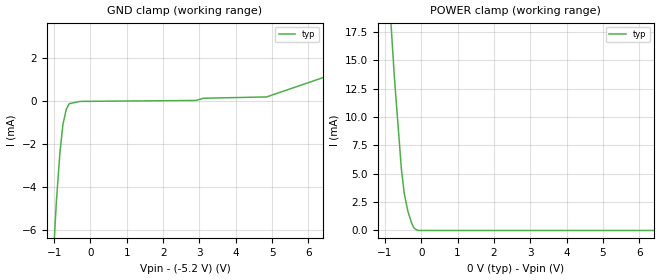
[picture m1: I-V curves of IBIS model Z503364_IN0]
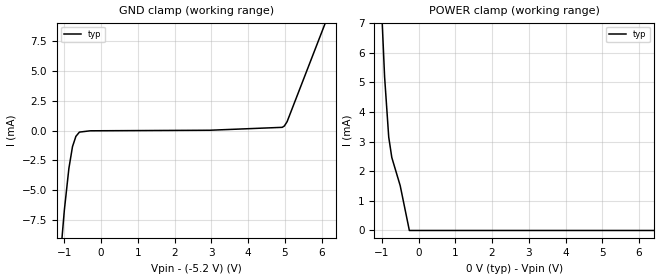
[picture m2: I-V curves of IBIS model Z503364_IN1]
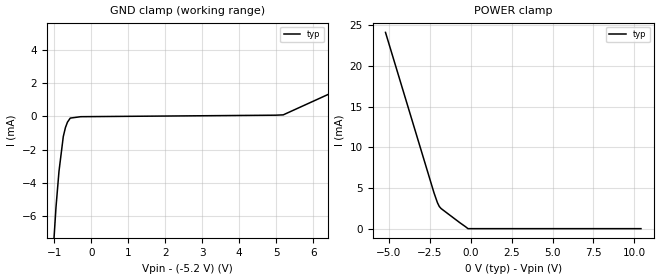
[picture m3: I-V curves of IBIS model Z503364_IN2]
| YOU ARE ONLY AUTHORIZED TO USE THIS SOFTWARE
| ACCORDING TO LICENSOR'S LICENSE RESTRICTIONS.
[IBIS Ver] 3.1
[File Name] mc100e131fn.ibs
[File Rev] 2.0
[Source] Measured and created by ICX Technology
[Date] Friday 7/14/00 9:07:47 AM
[Copyright]
| (C) COPYRIGHT 1993-2000
| MENTOR GRAPHICS CORPORATION
| ICX STANDARD LIBRARY, ICX PROJECT MODELING,
| ICX CUSTOM MODELING, ICX VENDOR MODEL
| ALL RIGHTS RESERVED.
| THE FOLLOWING ARE TRADEMARKS OR SERVICE MARKS OF
| MENTOR GRAPHICS CORPORATION:ICX (R), ICX STANDARD
| LIBRARY(R), ICX PROJECT MODELING(R), ICX CUSTOM
| MODELING(R), qualityIBIS(TM), MODELVIEWER(TM),
| AND MODELEDITOR(TM)
| ALL COPIES OF SOFTWARE, INCLUDING BUT NOT LIMITED TO
| ANY MODIFICATIONS, ENHANCEMENTS OR DERIVATIVE WORKS,
| MUST CONTAIN ALL MENTOR GRAPHICS CORPORATION'S
| NOTICES AND LEGENDS, INCLUDING THOSE EMBEDDED IN
| SOFTWARE AND THOSE AFFIXED TO SOFTWARE MEDIUM
| AND CONTAINER, AS RECEIVED FROM MENTOR GRAPHICS
| CORPORATION.
|  ZAP Model Builder 2.7
[Component] MC100E131FN
[Manufacturer] OnSemiconductor
[Package]
| variable   typ   min   max
R_pkg  .083ohms NA NA
L_pkg  4.299nH NA NA
C_pkg  1.045pF NA NA
[Pin] signal_name  model_name  R_pin  L_pin C_pin
1 VEE POWER .08 3.94n .925p
2 CC Z503364_IN0 .082 4.14n .995p
3 S03 Z503364_IN1 .084 4.354n 1.065p
4 D0 Z503364_IN2 .086 4.583n 1.135p
5 _CE0 Z503364_IN3 .086 4.583n 1.135p
6 R0 Z503364_IN4 .084 4.354n 1.065p
7 D1 Z503364_IN2 .082 4.14n .995p
8 _CE1 Z503364_IN3 .08 3.94n .925p
9 R1 Z503364_IN4 .082 4.14n .995p
10 NC NC .084 4.354n 1.065p
11 VCCO POWER .086 4.583n 1.135p
12 Q0 Z503364_OUT0 .086 4.583n 1.135p
13 _Q0 Z503364_OUT1 .084 4.354n 1.065p
14 Q1 Z503364_OUT0 .082 4.14n .995p
15 _Q1 Z503364_OUT1 .08 3.94n .925p
16 VCC POWER .082 4.14n .995p
17 Q2 Z503364_OUT0 .084 4.354n 1.065p
18 _Q2 Z503364_OUT1 .086 4.583n 1.135p
19 Q3 Z503364_OUT0 .086 4.583n 1.135p
20 _Q3 Z503364_OUT1 .084 4.354n 1.065p
21 VCCO POWER .082 4.14n .995p
22 R2 Z503364_IN4 .08 3.94n .925p
23 _CE2 Z503364_IN3 .082 4.14n .995p
24 D2 Z503364_IN2 .084 4.354n 1.065p
25 R3 Z503364_IN4 .086 4.583n 1.135p
26 _CE3 Z503364_IN3 .086 4.583n 1.135p
27 D3 Z503364_IN2 .084 4.354n 1.065p
28 S12 Z503364_IN1 .082 4.14n .995p
| Models and submodels in the file (7): Z503364_IN0 (Input_ECL), Z503364_IN1 (Input_ECL), Z503364_IN2 (Input_ECL), Z503364_IN3 (Input_ECL), Z503364_IN4 (Input_ECL), Z503364_OUT0 (Output_ECL), Z503364_OUT1 (Output_ECL)
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| (C) COPYRIGHT 1993-2000
| MENTOR GRAPHICS CORPORATION
| ICX STANDARD LIBRARY, ICX PROJECT MODELING,
| ICX CUSTOM MODELING, ICX VENDOR MODEL
| ALL RIGHTS RESERVED.
| THE FOLLOWING ARE TRADEMARKS OR SERVICE MARKS OF
| MENTOR GRAPHICS CORPORATION:ICX (R), ICX STANDARD
| LIBRARY(R), ICX PROJECT MODELING(R), ICX CUSTOM
| MODELING(R), qualityIBIS(TM), MODELVIEWER(TM),
| AND MODELEDITOR(TM)
| ALL COPIES OF SOFTWARE, INCLUDING BUT NOT LIMITED TO
| ANY MODIFICATIONS, ENHANCEMENTS OR DERIVATIVE WORKS,
| MUST CONTAIN ALL MENTOR GRAPHICS CORPORATION'S
| NOTICES AND LEGENDS, INCLUDING THOSE EMBEDDED IN
| SOFTWARE AND THOSE AFFIXED TO SOFTWARE MEDIUM
| AND CONTAINER, AS RECEIVED FROM MENTOR GRAPHICS
| CORPORATION.
| Model Application Version 1.89 2/18/99.
[Model] Z503364_IN0
Model_type Input_ECL
Vinl = -1.475V
Vinh = -1.165V
C_comp 4.000pF NA NA
| variable typ   min   max
[Voltage Range] -5.200V NA NA
[GND Clamp Reference] -5.200V NA NA
[POWER Clamp Reference] 0.000V NA NA
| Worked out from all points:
|   GND clamp passes 1 mA (typ) near -0.75 V on its own axis
|   POWER clamp passes 1 mA (typ) near -0.30 V on its own axis
[GND Clamp]
-5.2V     -235.2mA   NA         NA
-1.06V    -8.406mA   NA         NA
-941mV    -4.726mA   NA         NA
-843mV    -2.429mA   NA         NA
-758mV    -1.083mA   NA         NA
-664mV    -380.5uA   NA         NA
-587mV    -130.5uA   NA         NA
-293.5mV  -22.52uA   NA         NA
2.9V      21.83uA    NA         NA
3.118V    124.6uA    NA         NA
4.848V    185uA      NA         NA
10.4V     3.393mA    NA         NA
[POWER Clamp]
-5.2V     249.2mA    NA         NA
-1.493V   51.54mA    NA         NA
-742.2mV  13.56mA    NA         NA
-547.8mV  5.39mA     NA         NA
-468.8mV  3.257mA    NA         NA
-368.2mV  1.668mA    NA         NA
-258.4mV  579.5uA    NA         NA
-203.1mV  242.3uA    NA         NA
-165.6mV  123.3uA    NA         NA
-82.8mV   0A         NA         NA
10.4V     0A         NA         NA
| (C) COPYRIGHT 1993-2000
| MENTOR GRAPHICS CORPORATION
| ICX STANDARD LIBRARY, ICX PROJECT MODELING,
| ICX CUSTOM MODELING, ICX VENDOR MODEL
| ALL RIGHTS RESERVED.
| THE FOLLOWING ARE TRADEMARKS OR SERVICE MARKS OF
| MENTOR GRAPHICS CORPORATION:ICX (R), ICX STANDARD
| LIBRARY(R), ICX PROJECT MODELING(R), ICX CUSTOM
| MODELING(R), qualityIBIS(TM), MODELVIEWER(TM),
| AND MODELEDITOR(TM)
| ALL COPIES OF SOFTWARE, INCLUDING BUT NOT LIMITED TO
| ANY MODIFICATIONS, ENHANCEMENTS OR DERIVATIVE WORKS,
| MUST CONTAIN ALL MENTOR GRAPHICS CORPORATION'S
| NOTICES AND LEGENDS, INCLUDING THOSE EMBEDDED IN
| SOFTWARE AND THOSE AFFIXED TO SOFTWARE MEDIUM
| AND CONTAINER, AS RECEIVED FROM MENTOR GRAPHICS
| CORPORATION.
| Model Application Version 1.89 2/18/99.
[Model] Z503364_IN1
Model_type Input_ECL
Vinl = -1.475V
Vinh = -1.165V
C_comp 4.000pF NA NA
| variable typ   min   max
[Voltage Range] -5.200V NA NA
[GND Clamp Reference] -5.200V NA NA
[POWER Clamp Reference] 0.000V NA NA
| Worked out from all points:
|   GND clamp passes 1 mA (typ) near -0.74 V on its own axis
|   POWER clamp passes 1 mA (typ) near -0.41 V on its own axis
[GND Clamp]
-5.2V     -275.3mA   NA         NA
-1.101V   -10.47mA   NA         NA
-998mV    -6.705mA   NA         NA
-874mV    -3.182mA   NA         NA
-776mV    -1.354mA   NA         NA
-683mV    -486.4uA   NA         NA
-587mV    -132uA     NA         NA
-293.5mV  -22.84uA   NA         NA
2.958V    23.57uA    NA         NA
4.931V    268.3uA    NA         NA
5.063V    743.8uA    NA         NA
10.4V     43.31mA    NA         NA
[POWER Clamp]
-5.2V     185.3mA    NA         NA
-2.019V   43.9mA     NA         NA
-1.736V   32.8mA     NA         NA
-1.055V   8.911mA    NA         NA
-922.8mV  5.185mA    NA         NA
-810.5mV  3.151mA    NA         NA
-726.5mV  2.46mA     NA         NA
-497.9mV  1.51mA     NA         NA
-249mV    0A         NA         NA
10.4V     0A         NA         NA
| (C) COPYRIGHT 1993-2000
| MENTOR GRAPHICS CORPORATION
| ICX STANDARD LIBRARY, ICX PROJECT MODELING,
| ICX CUSTOM MODELING, ICX VENDOR MODEL
| ALL RIGHTS RESERVED.
| THE FOLLOWING ARE TRADEMARKS OR SERVICE MARKS OF
| MENTOR GRAPHICS CORPORATION:ICX (R), ICX STANDARD
| LIBRARY(R), ICX PROJECT MODELING(R), ICX CUSTOM
| MODELING(R), qualityIBIS(TM), MODELVIEWER(TM),
| AND MODELEDITOR(TM)
| ALL COPIES OF SOFTWARE, INCLUDING BUT NOT LIMITED TO
| ANY MODIFICATIONS, ENHANCEMENTS OR DERIVATIVE WORKS,
| MUST CONTAIN ALL MENTOR GRAPHICS CORPORATION'S
| NOTICES AND LEGENDS, INCLUDING THOSE EMBEDDED IN
| SOFTWARE AND THOSE AFFIXED TO SOFTWARE MEDIUM
| AND CONTAINER, AS RECEIVED FROM MENTOR GRAPHICS
| CORPORATION.
| Model Application Version 1.89 2/18/99.
[Model] Z503364_IN2
Model_type Input_ECL
Vinl = -1.475V
Vinh = -1.165V
C_comp 4.000pF NA NA
| variable typ   min   max
[Voltage Range] -5.200V NA NA
[GND Clamp Reference] -5.200V NA NA
[POWER Clamp Reference] 0.000V NA NA
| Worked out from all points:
|   GND clamp passes 1 mA (typ) near -0.73 V on its own axis
[GND Clamp]
-5.2V     -275.8mA   NA         NA
-1.069V   -9.425mA   NA         NA
-953mV    -5.419mA   NA         NA
-873mV    -3.292mA   NA         NA
-757mV    -1.213mA   NA         NA
-699mV    -673.9uA   NA         NA
-644mV    -347.2uA   NA         NA
-568mV    -104.2uA   NA         NA
-284mV    -20.48uA   NA         NA
5.191V    89.61uA    NA         NA
10.4V     5.344mA    NA         NA
[POWER Clamp]
-5.2V     24.15mA    NA         NA
-2.236V   4.396mA    NA         NA
-2.031V   3.209mA    NA         NA
-1.914V   2.725mA    NA         NA
-1.802V   2.47mA     NA         NA
-653.8mV  723.5uA    NA         NA
-324.4mV  256uA      NA         NA
-162.2mV  0A         NA         NA
10.4V     0A         NA         NA
